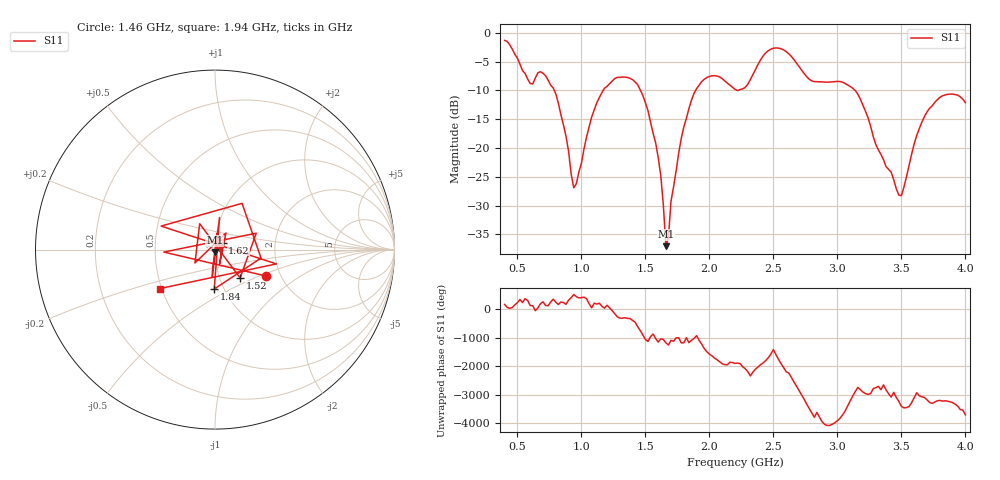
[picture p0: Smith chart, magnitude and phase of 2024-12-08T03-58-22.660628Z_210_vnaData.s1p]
!Created with skrf (http://scikit-rf.org).
# Hz S RI R 50.0
!freq ReS11 ImS11
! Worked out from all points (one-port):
!   181 points, 400 MHz to 4 GHz, reference 50 ohm
!   lowest |S11| = -37.0 dB at 1.66 GHz (marker M1), VSWR 1.03, Z = 49.8 - j1.4 ohm
!   |S11| at or under -10 dB: 788.2 MHz to 1.17 GHz (382.3 MHz wide, 39 % of centre); 1.462 GHz to 1.893 GHz (431 MHz wide, 25.7 % of centre); 3.138 GHz to end of sweep (the widest 3 of 4)
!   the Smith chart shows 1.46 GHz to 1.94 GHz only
!   S11 on the Smith chart (normalised r, x): 1.46 GHz: 1.68, -0.55; 1.52 GHz: 1.25, -0.41; 1.62 GHz: 1.08, +0.09; 1.84 GHz: 0.90, -0.42; 1.94 GHz: 0.49, -0.25
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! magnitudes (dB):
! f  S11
! 400 MHz  -1.3
! 600 MHz  -8.8
! 720 MHz  -7.5
! 800 MHz  -10.6
! 860 MHz  -16.0
! 940 MHz  -26.9
! 1.12 GHz  -12.2
! 1.3 GHz  -7.7
! 1.46 GHz  -9.9
! 1.52 GHz  -13.5
! 1.62 GHz  -24.8
! 1.66 GHz  -37.0
! 1.68 GHz  -35.5
! 1.7 GHz  -29.2
! 1.76 GHz  -20.9
! 1.84 GHz  -13.2
! 1.94 GHz  -8.5
! 2.2 GHz  -9.8
! 2.48 GHz  -2.9
! 2.66 GHz  -4.6
! 2.8 GHz  -8.4
! 3.1 GHz  -9.3
! 3.18 GHz  -11.6
! 3.48 GHz  -28.2
! 3.56 GHz  -23.0
! 3.66 GHz  -15.5
! 3.76 GHz  -12.1
! 4 GHz  -12.1
